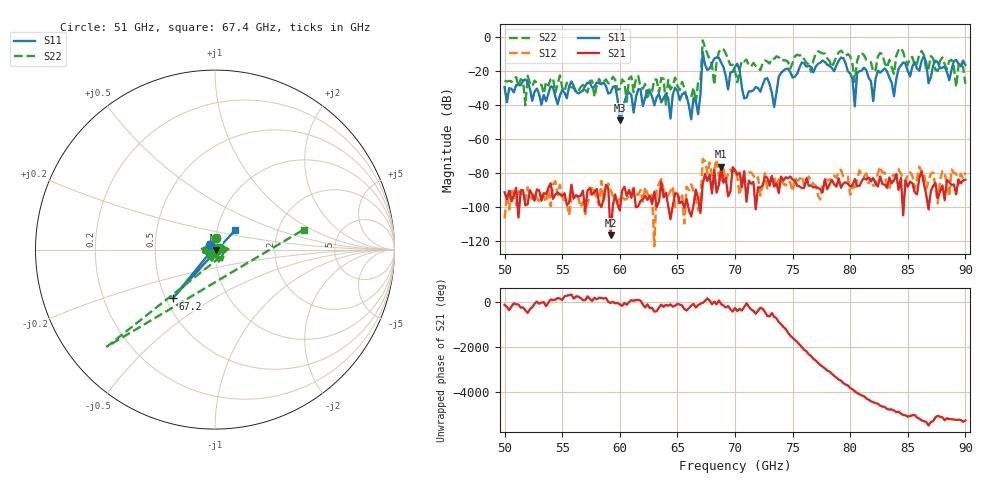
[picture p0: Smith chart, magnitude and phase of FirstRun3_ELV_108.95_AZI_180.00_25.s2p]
! 11/24/2026 3:38:05 PM
! C:\ANRITSUVNA\TEMP\TEMP.S2P
! CHANNEL.1
! TR.MEASUREMENT
! RAW.DATA
# HZ S RI R 50.0
! FREQ.HZ  S11RE  S11IM  S21RE  S21IM  S12RE  S12IM  S22RE  S22IM
!; PortSelection: Port_12
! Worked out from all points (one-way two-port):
!   201 points, 50 GHz to 90 GHz, reference 50 ohm
!   highest |S21| = -76.28 dB at 68.8 GHz (marker M1); lowest = -116.6 dB at 59.2 GHz (marker M2)
!   lowest |S11| = -48.9 dB at 60 GHz (marker M3), VSWR 1.01, Z = 50.3 - j0.154 ohm
!   |S11| at or under -10 dB: start of sweep to 67.19 GHz; 67.23 GHz to end of sweep
!   |S22| runs from -40.0 to -1.9 dB; largest |S21 - S12| = 0.00029
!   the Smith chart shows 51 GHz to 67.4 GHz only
!   S11 on the Smith chart (normalised r, x): 51 GHz: 0.94, +0.05; 67.2 GHz: 0.54, -0.34; 67.4 GHz: 1.22, +0.27
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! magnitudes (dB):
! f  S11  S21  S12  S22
! 50 GHz  -29.4  -91.3  -106.7  -25.6
! 51 GHz  -28.1  -88.6  -98.8  -23.4
! 51.8 GHz  -24.8  -99.0  -96.2  -40.0
! 52 GHz  -26.0  -98.2  -88.4  -22.6
! 56.8 GHz  -31.4  -90.2  -96.8  -28.1
! 59.2 GHz  -32.6  -116.6  -89.9  -26.5
! 60 GHz  -48.9  -102.0  -94.9  -30.5
! 63.4 GHz  -33.4  -96.6  -86.3  -32.6
! 66.8 GHz  -45.3  -94.7  -101.9  -26.5
! 67.2 GHz  -8.9  -86.3  -71.7  -1.9
! 67.4 GHz  -16.1  -80.5  -72.8  -5.9
! 68.2 GHz  -12.5  -78.1  -78.1  -28.0
! 68.8 GHz  -14.8  -76.3  -85.7  -6.7
! 70 GHz  -17.4  -78.1  -77.9  -19.9
! 73.4 GHz  -41.0  -87.9  -82.3  -12.6
! 74.2 GHz  -19.7  -84.4  -86.2  -13.5
! 76.8 GHz  -20.6  -88.5  -86.4  -13.6
! 79.4 GHz  -12.2  -86.1  -81.9  -9.4
! 80.4 GHz  -40.7  -83.5  -90.0  -26.2
! 80.6 GHz  -21.0  -87.6  -84.0  -14.0
! 83.4 GHz  -23.7  -82.5  -89.2  -13.3
! 90 GHz  -16.3  -84.0  -79.7  -27.3
